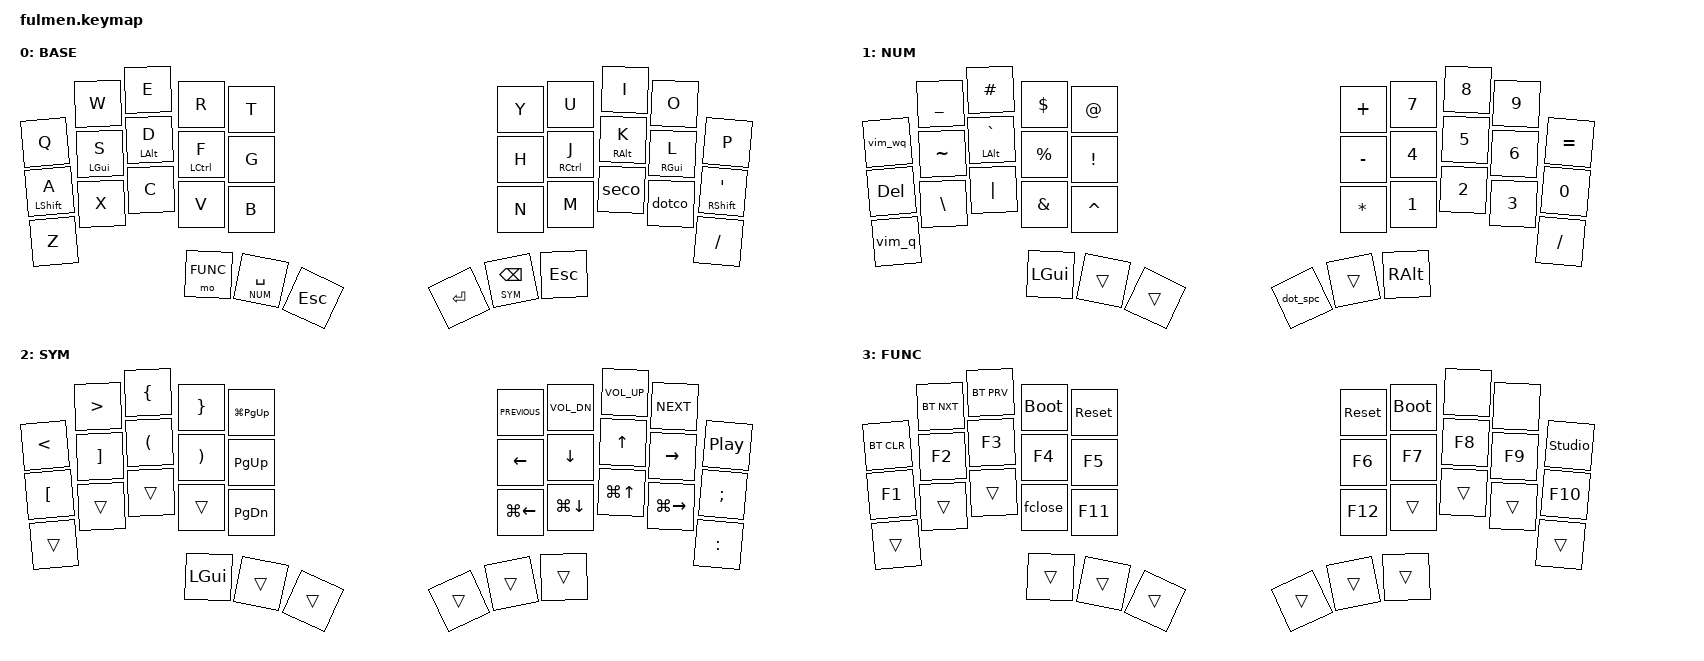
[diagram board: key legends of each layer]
#include <behaviors.dtsi>
#include <dt-bindings/zmk/keys.h>
#include <dt-bindings/zmk/bt.h>
#include <dt-bindings/zmk/outputs.h>
#include <dt-bindings/zmk/ext_power.h>
#include <dt-bindings/zmk/reset.h>

#define BASE 0
#define NUM 1
#define SYM 2
#define FUNC 3

#define ______ &trans

/*                KEY POSITIONS
     ╭────────────────────╮ ╭────────────────────╮
     │  0   1   2   3   4 │ │  5   6   7   8   9 │
     │ 10  11  12  13  14 │ │ 15  16  17  18  19 │
     │ 20  21  22  23  24 │ │ 25  26  27  28  29 │
     ╰───────╮ 30  31  32 │ │ 33  34  35╭────────╯
             ╰────────────╯ ╰───────────╯            */


&mt {
  tapping-term-ms = <200>;
  flavor = "tap-preferred";
};

&lt {
    tapping-term-ms = <190>; // This is the value already set by default
    quick-tap-ms = <250>;
};

/ {
    behaviors {
        seco: semi_comma {
            compatible = "zmk,behavior-mod-morph";
            #binding-cells = <0>;
            bindings = <&kp COMMA>, <&kp SEMI>;
            mods = <(MOD_LSFT|MOD_RSFT)>;
        };
	dotco: dot_comma {
            compatible = "zmk,behavior-mod-morph";
            #binding-cells = <0>;
            bindings = <&kp DOT>, <&kp COLON>;
            mods = <(MOD_LSFT|MOD_RSFT)>;
        };

	hm: homerow_mods {
            compatible = "zmk,behavior-hold-tap";
            #binding-cells = <2>;
            tapping-term-ms = <200>;
            quick-tap-ms = <250>;
            flavor = "tap-preferred";
            bindings = <&kp>, <&kp>;
	};
 
	shm: shift_homerow_mods {
            compatible = "zmk,behavior-hold-tap";
            #binding-cells = <2>;
            tapping-term-ms = <150>;
            quick-tap-ms = <220>;
            flavor = "tap-preferred";
            bindings = <&kp>, <&kp>;
	};

	 // Tap dance single tap = C double tap = copy(linux) 
        copy_dance: tapdance_copy {
            compatible = "zmk,behavior-tap-dance";
            #binding-cells = <0>;
            tapping-term-ms = <180>;
            bindings = <&kp C>, <&kp C_AC_COPY>;
        };
        // Tap dance single tap = V double tap = paste(linux) 
        paste_dance: tapdance_paste {
            compatible = "zmk,behavior-tap-dance";
            #binding-cells = <0>;
            tapping-term-ms = <180>;
            bindings = <&kp V>, <&kp C_AC_PASTE>;
        };
	// Tap dance single tap = X double tap = cut(linux)
        cut_dance: tapdance_cut {
            compatible = "zmk,behavior-tap-dance";
            #binding-cells = <0>;
            tapping-term-ms = <180>;
            bindings = <&kp X>, <&kp C_AC_CUT>; 
        };
        // Tap dance single tap = . double tap = SPACE(for NUM layer)
        dot_spc: dot_space {
            compatible = "zmk,behavior-tap-dance";
            #binding-cells = <0>;
            tapping-term-ms = <200>;
            bindings = <&kp DOT>, <&kp SPACE>;
        };
        // Tap dance single tap = H double tap = Raycast/Krunner seach (ALT + space)

        search_dance: tapdance_search {
            compatible = "zmk,behavior-tap-dance";
            #binding-cells = <0>;
            tapping-term-ms = <180>;
            bindings = <&kp H>, <&kp LA(SPACE)>;
	};
    };
    

    macros {
	// Macro to exit vim: ESC : W Q
	vim_wq: vim_quit {
	    compatible = "zmk,behavior-macro";
	    #binding-cells = <0>;
	    bindings = <&macro_tap &kp ESC &kp COLON &kp W &kp Q &kp ENTER>;
	};

	// Macro to force  exit vim: ESC : Q !
        vim_q: vim_quit_force {
            compatible = "zmk,behavior-macro";
            #binding-cells = <0>;
            bindings = <&macro_tap &kp ESC &kp COLON &kp Q &kp EXCL &kp ENTER>;
        };

	// Force close window: Alt + Fn4 
        fclose: force_close {
            compatible = "zmk,behavior-macro";
            #binding-cells = <0>;
            bindings = <&macro_press &kp LALT>,
	    	       <&macro_tap &kp F4>,
		       <&macro_release &kp LALT>;
        };
    };


    keymap {
        compatible = "zmk,keymap";

        default_layer {
            display-name = "BASE";
            bindings = <
// ╭─────────────┬─────────────┬─────────────┬─────────────┬─────────────╮   ╭─────────────┬─────────────┬─────────────┬─────────────┬─────────────╮
        &kp Q       &kp W         &kp E          &kp R          &kp T             &kp Y         &kp U         &kp I         &kp O       &kp P
// ├─────────────┼─────────────┼─────────────┼─────────────┼─────────────┤   ├─────────────┼─────────────┼─────────────┼─────────────┼─────────────┤
      &shm LSHIFT A  &hm LGUI S   &hm LALT D   &hm LCTRL  F     &kp G           &kp H        &hm RCTRL J   &hm RALT  K   &hm RGUI L  &shm RSHIFT SQT 
// ├─────────────┼─────────────┼─────────────┼─────────────┼─────────────┤   ├─────────────┼─────────────┼─────────────┼─────────────┼─────────────┤
        &kp Z        &kp X         &kp C       &kp V            &kp B           &kp N         &kp M         &seco         &dotco        &kp FSLH
// ╰─────────────┴─────────────┼─────────────┼─────────────┼─────────────┤   ├─────────────┼─────────────┼─────────────┼─────────────┴─────────────╯
                    		          &mo FUNC    &lt NUM SPACE  &kp ESC          &kp ENTER   &lt SYM BSPC     &kp ESC
//                             ╰─────────────┴─────────────┴─────────────╯   ╰─────────────┴─────────────┴─────────────╯
           >;
        };
	num_layer {
            display-name  = "NUM";
            bindings = <
// ╭─────────────┬─────────────┬─────────────┬─────────────┬─────────────╮   ╭─────────────┬─────────────┬─────────────┬─────────────┬─────────────╮
       &vim_wq     &kp UNDER     &kp HASH      &kp DLLR       &kp AT              &kp PLUS       &kp N7        &kp N8       &kp N9       &kp EQUAL
// ├─────────────┼─────────────┼─────────────┼─────────────┼─────────────┤   ├─────────────┼─────────────┼─────────────┼─────────────┼─────────────┤
       &kp DELETE  &kp TILDE     &hm LALT GRAVE  &kp PRCNT     &kp EXCL         &kp MINUS      &kp N4        &kp N5       &kp N6       &kp N0
// ├─────────────┼─────────────┼─────────────┼─────────────┼─────────────┤   ├─────────────┼─────────────┼─────────────┼─────────────┼─────────────┤
       &vim_q        &kp BSLH      &kp PIPE      &kp AMPS     &kp CARET         &kp STAR        &kp N1        &kp N2       &kp N3       &kp SLASH 
// ╰─────────────┴─────────────┼─────────────┼─────────────┼─────────────┤   ├─────────────┼─────────────┼─────────────┼─────────────┴─────────────╯
                                  &kp LGUI      ______         ______          &dot_spc       ______       &kp RALT
//                             ╰─────────────┴─────────────┴─────────────╯   ╰─────────────┴─────────────┴─────────────╯
          >;
        };

        sym_layer {
            display-name  = "SYM";
            bindings = <
// ╭─────────────┬─────────────┬─────────────┬─────────────┬─────────────╮   ╭─────────────┬─────────────┬─────────────┬─────────────┬─────────────╮
         &kp LT       &kp GT         &kp LBRC      &kp RBRC   &kp LG(PG_UP)   &kp C_PREVIOUS &kp C_VOL_DN &kp C_VOL_UP  &kp C_NEXT    &kp C_PP    
// ├─────────────┼─────────────┼─────────────┼─────────────┼─────────────┤   ├─────────────┼─────────────┼─────────────┼─────────────┼─────────────┤
        &kp LBKT     &kp RBKT       &kp LPAR      &kp RPAR     &kp PG_UP        &kp LEFT        &kp DOWN     &kp UP       &kp RIGHT     &kp SEMI
// ├─────────────┼─────────────┼─────────────┼─────────────┼─────────────┤   ├─────────────┼─────────────┼─────────────┼─────────────┼─────────────┤
     ______        ______          ______        ______       &kp PG_DN      &kp LG(LEFT)  &kp LG(DOWN) &kp LG(UP) &kp LG(RIGHT)    &kp COLON 
// ╰─────────────┴─────────────┼─────────────┼─────────────┼─────────────┤   ├─────────────┼─────────────┼─────────────┼─────────────┴─────────────╯
                                   &kp LGUI     ______        ______             ______        ______        ______
//                             ╰─────────────┴─────────────┴─────────────╯   ╰─────────────┴─────────────┴─────────────╯
           >;
        };

        func_layer {
            display-name = "FUNC";
            bindings = <
// ╭─────────────┬─────────────┬─────────────┬─────────────┬─────────────╮   ╭─────────────┬─────────────┬─────────────┬─────────────┬─────────────╮
     &bt BT_CLR    &bt BT_NXT    &bt BT_PRV    &bootloader   &sys_reset       &sys_reset    &bootloader    &none         &none       &studio_unlock
// ├─────────────┼─────────────┼─────────────┼─────────────┼─────────────┤   ├─────────────┼─────────────┼─────────────┼─────────────┼─────────────┤
       &kp F1        &kp F2        &kp F3        &kp F4        &kp F5           &kp F6         &kp F7       &kp F8        &kp F9         &kp F10
// ├─────────────┼─────────────┼─────────────┼─────────────┼─────────────┤   ├─────────────┼─────────────┼─────────────┼─────────────┼─────────────┤
       ______        ______        ______      &fclose        &kp F11		&kp F12	       ______	     ______        ______        ______   
// ╰─────────────┴─────────────┼─────────────┼─────────────┼─────────────┤   ├─────────────┼─────────────┼─────────────┼─────────────┴─────────────╯
                                   ______        ______        ______            ______        ______        ______
//                             ╰─────────────┴─────────────┴─────────────╯   ╰─────────────┴─────────────┴─────────────╯
           >;
        };
    }; // end keymap
};
